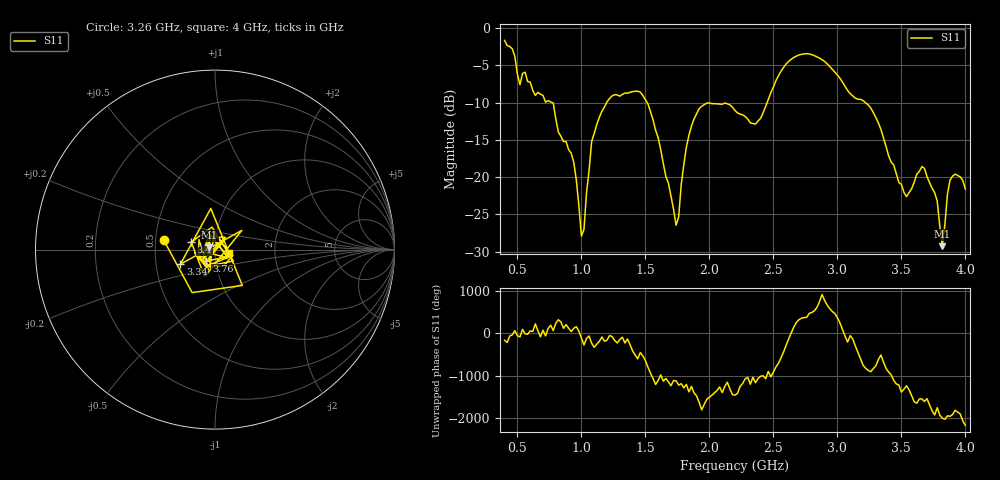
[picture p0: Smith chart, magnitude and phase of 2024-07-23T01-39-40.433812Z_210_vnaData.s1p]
!Created with skrf (http://scikit-rf.org).
# Hz S RI R 50.0
!freq ReS11 ImS11
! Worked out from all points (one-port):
!   181 points, 400 MHz to 4 GHz, reference 50 ohm
!   lowest |S11| = -29.3 dB at 3.82 GHz (marker M1), VSWR 1.07, Z = 46.9 + j1.22 ohm
!   |S11| at or under -10 dB: 770.5 MHz to 1.197 GHz (426.8 MHz wide, 43.4 % of centre); 1.513 GHz to 2.451 GHz (937.6 MHz wide, 47.3 % of centre); 3.219 GHz to end of sweep
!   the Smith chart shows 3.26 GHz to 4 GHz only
!   S11 on the Smith chart (normalised r, x): 3.26 GHz: 0.55, +0.07; 3.34 GHz: 0.67, -0.11; 3.4 GHz: 0.76, +0.07; 3.76 GHz: 0.90, -0.11; 4 GHz: 1.17, -0.05
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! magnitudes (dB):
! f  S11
! 400 MHz  -1.7
! 520 MHz  -7.6
! 780 MHz  -10.1
! 860 MHz  -15.2
! 940 MHz  -18.0
! 1 GHz  -27.9
! 1.02 GHz  -27.0
! 1.08 GHz  -15.2
! 1.3 GHz  -9.2
! 1.52 GHz  -10.2
! 1.74 GHz  -26.5
! 1.76 GHz  -25.3
! 1.82 GHz  -16.0
! 1.92 GHz  -10.8
! 2.2 GHz  -11.1
! 2.36 GHz  -12.9
! 2.66 GHz  -3.9
! 2.88 GHz  -4.2
! 3.1 GHz  -8.8
! 3.26 GHz  -10.7
! 3.34 GHz  -13.6
! 3.4 GHz  -17.1
! 3.56 GHz  -22.1
! 3.66 GHz  -18.6
! 3.76 GHz  -22.1
! 3.82 GHz  -29.3
! 3.88 GHz  -20.4
! 4 GHz  -21.6
